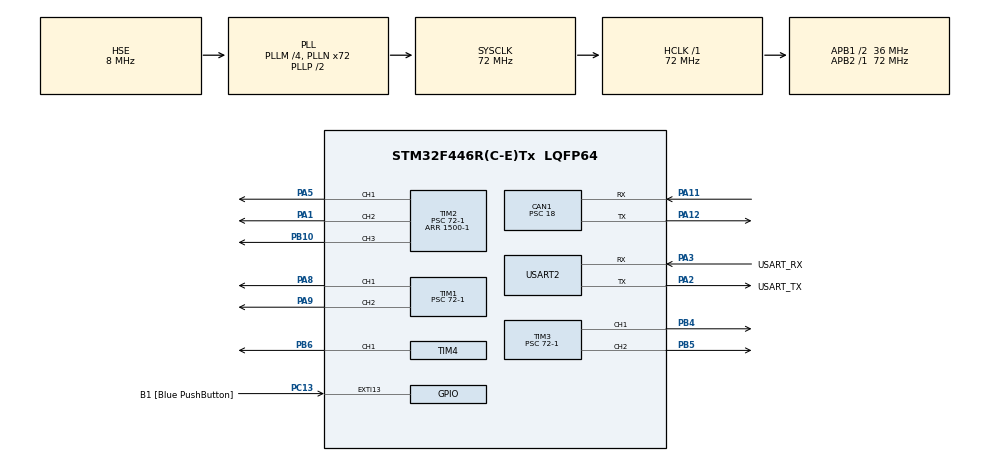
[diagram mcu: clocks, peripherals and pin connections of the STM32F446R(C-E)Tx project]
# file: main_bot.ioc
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CAN1.BS1=CAN_BS1_2TQ
CAN1.CalculateBaudRate=500000
CAN1.CalculateTimeBit=2000
CAN1.CalculateTimeQuantum=500.0
CAN1.Prescaler=18
Mcu.Family=STM32F4
Mcu.Name=STM32F446R(C-E)Tx
Mcu.Package=LQFP64
NVIC.CAN1_RX0_IRQn=true\:0\:0\:false\:false\:true\:true\:true\:true
NVIC.PriorityGroup=NVIC_PRIORITYGROUP_0
PA1.Signal=S_TIM2_CH2
PA11.Mode=CAN_Activate
PA11.Signal=CAN1_RX
PA12.Mode=CAN_Activate
PA12.Signal=CAN1_TX
PA13.GPIO_Label=TMS
PA13.Mode=Serial_Wire
PA13.Signal=SYS_JTMS-SWDIO
PA14.GPIO_Label=TCK
PA14.Mode=Serial_Wire
PA14.Signal=SYS_JTCK-SWCLK
PA2.GPIO_Label=USART_TX
PA2.Mode=Asynchronous
PA2.Signal=USART2_TX
PA3.GPIO_Label=USART_RX
PA3.Mode=Asynchronous
PA3.Signal=USART2_RX
PA5.Signal=S_TIM2_CH1_ETR
PA8.Signal=S_TIM1_CH1
PA9.Signal=S_TIM1_CH2
PB10.Signal=S_TIM2_CH3
PB3.GPIO_Label=SWO
PB3.Signal=SYS_JTDO-SWO
PB4.Signal=S_TIM3_CH1
PB5.Signal=S_TIM3_CH2
PB6.Signal=S_TIM4_CH1
PC13.GPIO_Label=B1 [Blue PushButton]
PC13.GPIO_ModeDefaultEXTI=GPIO_MODE_IT_FALLING
PC13.Signal=GPXTI13
PC14-OSC32_IN.Mode=LSE-External-Oscillator
PC14-OSC32_IN.Signal=RCC_OSC32_IN
PC15-OSC32_OUT.Mode=LSE-External-Oscillator
PC15-OSC32_OUT.Signal=RCC_OSC32_OUT
PH0-OSC_IN.Mode=HSE-External-Oscillator
PH0-OSC_IN.Signal=RCC_OSC_IN
PH1-OSC_OUT.Mode=HSE-External-Oscillator
PH1-OSC_OUT.Signal=RCC_OSC_OUT
ProjectManager.HeapSize=0x200
ProjectManager.StackSize=0x400
ProjectManager.TargetToolchain=STM32CubeIDE
RCC.48MHZClocksFreq_Value=84000000
RCC.AHBFreq_Value=72000000
RCC.APB1CLKDivider=RCC_HCLK_DIV2
RCC.APB1Freq_Value=36000000
RCC.APB1TimFreq_Value=72000000
RCC.APB2Freq_Value=72000000
RCC.APB2TimFreq_Value=72000000
RCC.CortexFreq_Value=72000000
RCC.FLatency-AdvancedSettings=FLASH_LATENCY_2
RCC.HCLKFreq_Value=72000000
RCC.HSE_VALUE=8000000
RCC.HSI_VALUE=16000000
RCC.PLLM=4
RCC.PLLN=72
RCC.PLLSourceVirtual=RCC_PLLSOURCE_HSE
RCC.SYSCLKFreq_VALUE=72000000
RCC.SYSCLKSource=RCC_SYSCLKSOURCE_PLLCLK
RCC.USBFreq_Value=72000000
RCC.VCOOutputFreq_Value=144000000
SH.S_TIM1_CH1.0=TIM1_CH1,PWM Generation1 CH1
SH.S_TIM1_CH2.0=TIM1_CH2,PWM Generation2 CH2
SH.S_TIM2_CH1_ETR.0=TIM2_CH1,PWM Generation1 CH1
SH.S_TIM2_CH2.0=TIM2_CH2,PWM Generation2 CH2
SH.S_TIM2_CH3.0=TIM2_CH3,PWM Generation3 CH3
SH.S_TIM3_CH1.0=TIM3_CH1,PWM Generation1 CH1
SH.S_TIM3_CH2.0=TIM3_CH2,PWM Generation2 CH2
SH.S_TIM4_CH1.0=TIM4_CH1,PWM Generation1 CH1
TIM1.Channel-PWM\ Generation1\ CH1=TIM_CHANNEL_1
TIM1.Channel-PWM\ Generation2\ CH2=TIM_CHANNEL_2
TIM1.Period=1500-1
TIM1.Prescaler=72-1
TIM2.Channel-PWM\ Generation1\ CH1=TIM_CHANNEL_1
TIM2.Channel-PWM\ Generation2\ CH2=TIM_CHANNEL_2
TIM2.Channel-PWM\ Generation3\ CH3=TIM_CHANNEL_3
TIM2.Period=1500-1
TIM2.Prescaler=72-1
TIM3.Channel-PWM\ Generation1\ CH1=TIM_CHANNEL_1
TIM3.Channel-PWM\ Generation2\ CH2=TIM_CHANNEL_2
TIM3.Period=1500-1
TIM3.Prescaler=72-1
TIM4.Channel-PWM\ Generation1\ CH1=TIM_CHANNEL_1
TIM4.Period=1000
TIM4.Prescaler=72-1
USART2.VirtualMode=VM_ASYNC
VP_TIM1_VS_ClockSourceINT.Mode=Internal
VP_TIM2_VS_ClockSourceINT.Mode=Internal
VP_TIM3_VS_ClockSourceINT.Mode=Internal
VP_TIM4_VS_ClockSourceINT.Mode=Internal
board=NUCLEO-F446RE

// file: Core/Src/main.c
/* USER CODE BEGIN Header */
/**
  ******************************************************************************
  * @file           : main.c
  * @brief          : Main program body
  ******************************************************************************
  * @attention
  *
  * Copyright (c) 2024 STMicroelectronics.
  * All rights reserved.
  *
  * This software is licensed under terms that can be found in the LICENSE file
  * in the root directory of this software component.
  * If no LICENSE file comes with this software, it is provided AS-IS.
  *
  ******************************************************************************
  */
/* USER CODE END Header */
#include "main.h"

/* USER CODE BEGIN PD */
int exponent(int i){
	int d = 1;
	for(int j = 3; j >= (i-5) * 2; j--){
		d *= 16;
	}
	return d;
}
int CAN_MESSAGE_CONVERSION(uint8_t RxData[8]){
	 int d;
	 int x = 0;
	 for(int i = 7; i >= 5; i--){
		 d = exponent(i);
		 x += RxData[i] * d;
	  }
	 return x;
}
/* USER CODE END PD */

CAN_HandleTypeDef hcan1;

TIM_HandleTypeDef htim1;
TIM_HandleTypeDef htim2;
TIM_HandleTypeDef htim3;
TIM_HandleTypeDef htim4;

UART_HandleTypeDef huart2;

void SystemClock_Config(void);
static void MX_GPIO_Init(void);
static void MX_USART2_UART_Init(void);
static void MX_CAN1_Init(void);
static void MX_TIM1_Init(void);
static void MX_TIM2_Init(void);
static void MX_TIM3_Init(void);
static void MX_TIM4_Init(void);

/* USER CODE BEGIN 0 */
CAN_TxHeaderTypeDef TxHeader;
CAN_RxHeaderTypeDef RxHeader;
uint8_t TxData[8];
uint8_t RxData[8];
uint32_t TxMailbox;

int datacheck = 0;

void HAL_GPIO_EXTI_Callback(uint16_t GPIO_Pin)
{
	if (GPIO_Pin == GPIO_PIN_13){
		TxData[0] = 100;
		TxData[1] = 10;

		HAL_CAN_AddTxMessage(&hcan1, &TxHeader, TxData, &TxMailbox);
	}
}

void HAL_CAN_RxFifo0MsgPendingCallback(CAN_HandleTypeDef *hcan)
{
	HAL_CAN_GetRxMessage(hcan, CAN_RX_FIFO0, &RxHeader, RxData);
//	if(RxHeader.ExtId == 23){
//		datacheck = 1;
//	}
	datacheck = 1;
}
/* USER CODE END 0 */

int main(void)
{

  /* MCU Configuration--------------------------------------------------------*/

  /* Reset of all peripherals, Initializes the Flash interface and the Systick. */
  HAL_Init();

  /* Configure the system clock */
  SystemClock_Config();

  /* Initialize all configured peripherals */
  MX_GPIO_Init();
  MX_USART2_UART_Init();
  MX_CAN1_Init();
  MX_TIM1_Init();
  MX_TIM2_Init();
  MX_TIM3_Init();
  MX_TIM4_Init();
  /* USER CODE BEGIN 2 */
  //  uint32_t pwmData[9];
  //  pwmData[0] = 10;
  //  pwmData[1] = 20;
  //  pwmData[2] = 30;
  //  pwmData[3] = 40;
  //  pwmData[4] = 50;
  //  pwmData[5] = 60;
  //  pwmData[6] = 70;
  //  pwmData[7] = 80;
  //  pwmData[8] = 90;
  //  pwmData[9] = 100;
  //
  //  HAL_TIM_PWM_Start_DMA(&htim1, TIM_CHANNEL_1, pwmData, 10);

    // can messages
    HAL_CAN_Start(&hcan1);

    HAL_CAN_ActivateNotification(&hcan1, CAN_IT_RX_FIFO0_MSG_PENDING);

    TxHeader.DLC = 8;
    TxHeader.IDE = CAN_ID_EXT;
    TxHeader.RTR = CAN_RTR_DATA;
    TxHeader.ExtId = 400;

    TIM1->CCR1 = 0;
    TIM1->CCR2 = 0;
    TIM2->CCR1 = 1000;
    TIM2->CCR2 = 1000;//TODOS
    TIM2->CCR3 = 0;
    TIM3->CCR1 = 1000;
    TIM3->CCR2 = 0;
    TIM4->CCR1 = 0;
    HAL_TIM_PWM_Start(&htim1, TIM_CHANNEL_1);
    HAL_TIM_PWM_Start(&htim1, TIM_CHANNEL_2);
    HAL_TIM_PWM_Start(&htim2, TIM_CHANNEL_1);
    HAL_TIM_PWM_Start(&htim2, TIM_CHANNEL_2); //TODOS
    HAL_TIM_PWM_Start(&htim2, TIM_CHANNEL_3);
    HAL_TIM_PWM_Start(&htim3, TIM_CHANNEL_1);
    HAL_TIM_PWM_Start(&htim3, TIM_CHANNEL_2);
    HAL_TIM_PWM_Start(&htim4, TIM_CHANNEL_1);
  /* USER CODE END 2 */

  /* Infinite loop */
  while (1)
  {

    /* USER CODE BEGIN 3 */
	  int x = 0;
	  if (datacheck){
		  if(RxHeader.ExtId == 15 || RxHeader.ExtId == 16 || RxHeader.ExtId == 17 || RxHeader.ExtId == 18)
		  {
			  TxHeader.ExtId = RxHeader.ExtId;
			  for(int i = 0; i < 4; i++){
				  TxData[i] = RxData[i];
			  }
			  // HAL_CAN_AddTxMessage(&hcan1, &TxHeader, TxData, &TxMailbox);
			  datacheck = 0;
		  }
		  // conveyer
		  else if(RxHeader.ExtId == 19)
		  {
			  TxHeader.ExtId = 400;
			  for(int i = 0; i < 8; i++){
				  TxData[i] = RxData[i];
			  }
			  HAL_CAN_AddTxMessage(&hcan1, &TxHeader, TxData, &TxMailbox);

			  x = CAN_MESSAGE_CONVERSION(RxData);

			  TIM1->ARR = 1000;
			  __HAL_TIM_SET_COMPARE(&htim1, TIM_CHANNEL_1, x);
			  datacheck = 0;
		  }
		  // Arm
		  else if(RxHeader.ExtId == 21)
		  {
			  TxHeader.ExtId = 400;
			  for(int i = 0; i < 8; i++){
				  TxData[i] = RxData[i];
			  }
			  HAL_CAN_AddTxMessage(&hcan1, &TxHeader, TxData, &TxMailbox);

			  x = CAN_MESSAGE_CONVERSION(RxData);

			  TIM2->ARR = 1000;
			  // retract
			  if(x == 50){
				  __HAL_TIM_SET_COMPARE(&htim2, TIM_CHANNEL_1, 1000);
				  __HAL_TIM_SET_COMPARE(&htim2, TIM_CHANNEL_3, 0);
			  }
			  // extend
			  else if(x == 150){
				  __HAL_TIM_SET_COMPARE(&htim2, TIM_CHANNEL_1, 0);
				  __HAL_TIM_SET_COMPARE(&htim2, TIM_CHANNEL_3, 1000);
			  }
			  else{
				  __HAL_TIM_SET_COMPARE(&htim2, TIM_CHANNEL_1, 0);
				  __HAL_TIM_SET_COMPARE(&htim2, TIM_CHANNEL_3, 0);
			  }

			  datacheck = 0;
		  }
		  // digger
		  else if(RxHeader.ExtId == 23)
		  {
			  TxHeader.ExtId = 400;
			  for(int i = 0; i < 8; i++){
				  TxData[i] = RxData[i];
			  }
			  HAL_CAN_AddTxMessage(&hcan1, &TxHeader, TxData, &TxMailbox);

			  x = CAN_MESSAGE_CONVERSION(RxData);

			  TIM3->ARR = 1000;
			  TIM1->ARR = 1000;
			  TIM2->ARR = 1000;//TODOS

			  if(x == 500){
				  __HAL_TIM_SET_COMPARE(&htim3, TIM_CHANNEL_1, 1000);
				  __HAL_TIM_SET_COMPARE(&htim2, TIM_CHANNEL_2, 1000);//TODOS
			  }else if(x == 600){
				  __HAL_TIM_SET_COMPARE(&htim3, TIM_CHANNEL_1, 0);
				  __HAL_TIM_SET_COMPARE(&htim2, TIM_CHANNEL_2, 0);//TODOS
			  }
			  __HAL_TIM_SET_COMPARE(&htim1, TIM_CHANNEL_2, x);
			  datacheck = 0;
		  }
		  // servo
		  else if(RxHeader.ExtId == 25)
		  {
			  TxHeader.ExtId = 400;
			  for(int i = 0; i < 8; i++){
				  TxData[i] = RxData[i];
			  }
			  HAL_CAN_AddTxMessage(&hcan1, &TxHeader, TxData, &TxMailbox);

			  x = CAN_MESSAGE_CONVERSION(RxData);

			  TIM3->ARR = 1000;
			  TIM4->ARR = 1000;
			  __HAL_TIM_SET_COMPARE(&htim3, TIM_CHANNEL_2, x);
			  __HAL_TIM_SET_COMPARE(&htim4, TIM_CHANNEL_1, x);
			  datacheck = 0;
		  }

		  else
		  {
			  datacheck = 0;
		  }
	  }

	   }
  /* USER CODE END 3 */
}

void SystemClock_Config(void)
{
  RCC_OscInitTypeDef RCC_OscInitStruct = {0};
  RCC_ClkInitTypeDef RCC_ClkInitStruct = {0};

  /** Configure the main internal regulator output voltage
  */
  __HAL_RCC_PWR_CLK_ENABLE();
  __HAL_PWR_VOLTAGESCALING_CONFIG(PWR_REGULATOR_VOLTAGE_SCALE3);

  /** Initializes the RCC Oscillators according to the specified parameters
  * in the RCC_OscInitTypeDef structure.
  */
  RCC_OscInitStruct.OscillatorType = RCC_OSCILLATORTYPE_HSE;
  RCC_OscInitStruct.HSEState = RCC_HSE_ON;
  RCC_OscInitStruct.PLL.PLLState = RCC_PLL_ON;
  RCC_OscInitStruct.PLL.PLLSource = RCC_PLLSOURCE_HSE;
  RCC_OscInitStruct.PLL.PLLM = 4;
  RCC_OscInitStruct.PLL.PLLN = 72;
  RCC_OscInitStruct.PLL.PLLP = RCC_PLLP_DIV2;
  RCC_OscInitStruct.PLL.PLLQ = 2;
  RCC_OscInitStruct.PLL.PLLR = 2;
  if (HAL_RCC_OscConfig(&RCC_OscInitStruct) != HAL_OK)
  {
    Error_Handler();
  }

  /** Initializes the CPU, AHB and APB buses clocks
  */
  RCC_ClkInitStruct.ClockType = RCC_CLOCKTYPE_HCLK|RCC_CLOCKTYPE_SYSCLK
                              |RCC_CLOCKTYPE_PCLK1|RCC_CLOCKTYPE_PCLK2;
  RCC_ClkInitStruct.SYSCLKSource = RCC_SYSCLKSOURCE_PLLCLK;
  RCC_ClkInitStruct.AHBCLKDivider = RCC_SYSCLK_DIV1;
  RCC_ClkInitStruct.APB1CLKDivider = RCC_HCLK_DIV2;
  RCC_ClkInitStruct.APB2CLKDivider = RCC_HCLK_DIV1;

  if (HAL_RCC_ClockConfig(&RCC_ClkInitStruct, FLASH_LATENCY_2) != HAL_OK)
  {
    Error_Handler();
  }
}

static void MX_CAN1_Init(void)
{

  hcan1.Instance = CAN1;
  hcan1.Init.Prescaler = 18;
  hcan1.Init.Mode = CAN_MODE_NORMAL;
  hcan1.Init.SyncJumpWidth = CAN_SJW_1TQ;
  hcan1.Init.TimeSeg1 = CAN_BS1_2TQ;
  hcan1.Init.TimeSeg2 = CAN_BS2_1TQ;
  hcan1.Init.TimeTriggeredMode = DISABLE;
  hcan1.Init.AutoBusOff = DISABLE;
  hcan1.Init.AutoWakeUp = DISABLE;
  hcan1.Init.AutoRetransmission = DISABLE;
  hcan1.Init.ReceiveFifoLocked = DISABLE;
  hcan1.Init.TransmitFifoPriority = DISABLE;
  if (HAL_CAN_Init(&hcan1) != HAL_OK)
  {
    Error_Handler();
  }
  /* USER CODE BEGIN CAN1_Init 2 */
  CAN_FilterTypeDef canfilterconfig;

  canfilterconfig.FilterActivation = CAN_FILTER_ENABLE;
  canfilterconfig.FilterBank = 0;
  canfilterconfig.FilterFIFOAssignment = CAN_FILTER_FIFO0;
  canfilterconfig.FilterIdHigh = 0;
  canfilterconfig.FilterIdLow = 0;
  canfilterconfig.FilterMaskIdHigh = 0;
  canfilterconfig.FilterMaskIdLow = 0;
  canfilterconfig.FilterMode = CAN_FILTERMODE_IDMASK;
  canfilterconfig.FilterScale = CAN_FILTERSCALE_32BIT;
  canfilterconfig.SlaveStartFilterBank = 40;

  HAL_CAN_ConfigFilter(&hcan1, &canfilterconfig);
  /* USER CODE END CAN1_Init 2 */

}

static void MX_TIM1_Init(void)
{

  TIM_ClockConfigTypeDef sClockSourceConfig = {0};
  TIM_MasterConfigTypeDef sMasterConfig = {0};
  TIM_OC_InitTypeDef sConfigOC = {0};
  TIM_BreakDeadTimeConfigTypeDef sBreakDeadTimeConfig = {0};

  htim1.Instance = TIM1;
  htim1.Init.Prescaler = 72-1;
  htim1.Init.CounterMode = TIM_COUNTERMODE_UP;
  htim1.Init.Period = 1500-1;
  htim1.Init.ClockDivision = TIM_CLOCKDIVISION_DIV1;
  htim1.Init.RepetitionCounter = 0;
  htim1.Init.AutoReloadPreload = TIM_AUTORELOAD_PRELOAD_DISABLE;
  if (HAL_TIM_Base_Init(&htim1) != HAL_OK)
  {
    Error_Handler();
  }
  sClockSourceConfig.ClockSource = TIM_CLOCKSOURCE_INTERNAL;
  if (HAL_TIM_ConfigClockSource(&htim1, &sClockSourceConfig) != HAL_OK)
  {
    Error_Handler();
  }
  if (HAL_TIM_PWM_Init(&htim1) != HAL_OK)
  {
    Error_Handler();
  }
  sMasterConfig.MasterOutputTrigger = TIM_TRGO_RESET;
  sMasterConfig.MasterSlaveMode = TIM_MASTERSLAVEMODE_DISABLE;
  if (HAL_TIMEx_MasterConfigSynchronization(&htim1, &sMasterConfig) != HAL_OK)
  {
    Error_Handler();
  }
  sConfigOC.OCMode = TIM_OCMODE_PWM1;
  sConfigOC.Pulse = 0;
  sConfigOC.OCPolarity = TIM_OCPOLARITY_HIGH;
  sConfigOC.OCNPolarity = TIM_OCNPOLARITY_HIGH;
  sConfigOC.OCFastMode = TIM_OCFAST_DISABLE;
  sConfigOC.OCIdleState = TIM_OCIDLESTATE_RESET;
  sConfigOC.OCNIdleState = TIM_OCNIDLESTATE_RESET;
  if (HAL_TIM_PWM_ConfigChannel(&htim1, &sConfigOC, TIM_CHANNEL_1) != HAL_OK)
  {
    Error_Handler();
  }
  if (HAL_TIM_PWM_ConfigChannel(&htim1, &sConfigOC, TIM_CHANNEL_2) != HAL_OK)
  {
    Error_Handler();
  }
  sBreakDeadTimeConfig.OffStateRunMode = TIM_OSSR_DISABLE;
  sBreakDeadTimeConfig.OffStateIDLEMode = TIM_OSSI_DISABLE;
  sBreakDeadTimeConfig.LockLevel = TIM_LOCKLEVEL_OFF;
  sBreakDeadTimeConfig.DeadTime = 0;
  sBreakDeadTimeConfig.BreakState = TIM_BREAK_DISABLE;
  sBreakDeadTimeConfig.BreakPolarity = TIM_BREAKPOLARITY_HIGH;
  sBreakDeadTimeConfig.AutomaticOutput = TIM_AUTOMATICOUTPUT_DISABLE;
  if (HAL_TIMEx_ConfigBreakDeadTime(&htim1, &sBreakDeadTimeConfig) != HAL_OK)
  {
    Error_Handler();
  }
  HAL_TIM_MspPostInit(&htim1);

}

static void MX_TIM2_Init(void)
{

  TIM_ClockConfigTypeDef sClockSourceConfig = {0};
  TIM_MasterConfigTypeDef sMasterConfig = {0};
  TIM_OC_InitTypeDef sConfigOC = {0};

  htim2.Instance = TIM2;
  htim2.Init.Prescaler = 72-1;
  htim2.Init.CounterMode = TIM_COUNTERMODE_UP;
  htim2.Init.Period = 1500-1;
  htim2.Init.ClockDivision = TIM_CLOCKDIVISION_DIV1;
  htim2.Init.AutoReloadPreload = TIM_AUTORELOAD_PRELOAD_DISABLE;
  if (HAL_TIM_Base_Init(&htim2) != HAL_OK)
  {
    Error_Handler();
  }
  sClockSourceConfig.ClockSource = TIM_CLOCKSOURCE_INTERNAL;
  if (HAL_TIM_ConfigClockSource(&htim2, &sClockSourceConfig) != HAL_OK)
  {
    Error_Handler();
  }
  if (HAL_TIM_PWM_Init(&htim2) != HAL_OK)
  {
    Error_Handler();
  }
  sMasterConfig.MasterOutputTrigger = TIM_TRGO_RESET;
  sMasterConfig.MasterSlaveMode = TIM_MASTERSLAVEMODE_DISABLE;
  if (HAL_TIMEx_MasterConfigSynchronization(&htim2, &sMasterConfig) != HAL_OK)
  {
    Error_Handler();
  }
  sConfigOC.OCMode = TIM_OCMODE_PWM1;
  sConfigOC.Pulse = 0;
  sConfigOC.OCPolarity = TIM_OCPOLARITY_HIGH;
  sConfigOC.OCFastMode = TIM_OCFAST_DISABLE;
  if (HAL_TIM_PWM_ConfigChannel(&htim2, &sConfigOC, TIM_CHANNEL_1) != HAL_OK)
  {
    Error_Handler();
  }
  if (HAL_TIM_PWM_ConfigChannel(&htim2, &sConfigOC, TIM_CHANNEL_2) != HAL_OK)
	{
	  Error_Handler();
	}
  if (HAL_TIM_PWM_ConfigChannel(&htim2, &sConfigOC, TIM_CHANNEL_3) != HAL_OK)
  {
    Error_Handler();
  }
  HAL_TIM_MspPostInit(&htim2);

}

static void MX_TIM3_Init(void)
{

  TIM_ClockConfigTypeDef sClockSourceConfig = {0};
  TIM_MasterConfigTypeDef sMasterConfig = {0};
  TIM_OC_InitTypeDef sConfigOC = {0};

  htim3.Instance = TIM3;
  htim3.Init.Prescaler = 72-1;
  htim3.Init.CounterMode = TIM_COUNTERMODE_UP;
  htim3.Init.Period = 1500-1;
  htim3.Init.ClockDivision = TIM_CLOCKDIVISION_DIV1;
  htim3.Init.AutoReloadPreload = TIM_AUTORELOAD_PRELOAD_DISABLE;
  if (HAL_TIM_Base_Init(&htim3) != HAL_OK)
  {
    Error_Handler();
  }
  sClockSourceConfig.ClockSource = TIM_CLOCKSOURCE_INTERNAL;
  if (HAL_TIM_ConfigClockSource(&htim3, &sClockSourceConfig) != HAL_OK)
  {
    Error_Handler();
  }
  if (HAL_TIM_PWM_Init(&htim3) != HAL_OK)
  {
    Error_Handler();
  }
  sMasterConfig.MasterOutputTrigger = TIM_TRGO_RESET;
  sMasterConfig.MasterSlaveMode = TIM_MASTERSLAVEMODE_DISABLE;
  if (HAL_TIMEx_MasterConfigSynchronization(&htim3, &sMasterConfig) != HAL_OK)
  {
    Error_Handler();
  }
  sConfigOC.OCMode = TIM_OCMODE_PWM1;
  sConfigOC.Pulse = 0;
  sConfigOC.OCPolarity = TIM_OCPOLARITY_HIGH;
  sConfigOC.OCFastMode = TIM_OCFAST_DISABLE;
  if (HAL_TIM_PWM_ConfigChannel(&htim3, &sConfigOC, TIM_CHANNEL_1) != HAL_OK)
  {
    Error_Handler();
  }
  if (HAL_TIM_PWM_ConfigChannel(&htim3, &sConfigOC, TIM_CHANNEL_2) != HAL_OK)
  {
    Error_Handler();
  }
  HAL_TIM_MspPostInit(&htim3);

}

static void MX_TIM4_Init(void)
{

  TIM_ClockConfigTypeDef sClockSourceConfig = {0};
  TIM_MasterConfigTypeDef sMasterConfig = {0};
  TIM_OC_InitTypeDef sConfigOC = {0};

  htim4.Instance = TIM4;
  htim4.Init.Prescaler = 72-1;
  htim4.Init.CounterMode = TIM_COUNTERMODE_UP;
  htim4.Init.Period = 1000;
  htim4.Init.ClockDivision = TIM_CLOCKDIVISION_DIV1;
  htim4.Init.AutoReloadPreload = TIM_AUTORELOAD_PRELOAD_DISABLE;
  if (HAL_TIM_Base_Init(&htim4) != HAL_OK)
  {
    Error_Handler();
  }
  sClockSourceConfig.ClockSource = TIM_CLOCKSOURCE_INTERNAL;
  if (HAL_TIM_ConfigClockSource(&htim4, &sClockSourceConfig) != HAL_OK)
  {
    Error_Handler();
  }
  if (HAL_TIM_PWM_Init(&htim4) != HAL_OK)
  {
    Error_Handler();
  }
  sMasterConfig.MasterOutputTrigger = TIM_TRGO_RESET;
  sMasterConfig.MasterSlaveMode = TIM_MASTERSLAVEMODE_DISABLE;
  if (HAL_TIMEx_MasterConfigSynchronization(&htim4, &sMasterConfig) != HAL_OK)
  {
    Error_Handler();
  }
  sConfigOC.OCMode = TIM_OCMODE_PWM1;
  sConfigOC.Pulse = 0;
  sConfigOC.OCPolarity = TIM_OCPOLARITY_HIGH;
  sConfigOC.OCFastMode = TIM_OCFAST_DISABLE;
  if (HAL_TIM_PWM_ConfigChannel(&htim4, &sConfigOC, TIM_CHANNEL_1) != HAL_OK)
  {
    Error_Handler();
  }
  HAL_TIM_MspPostInit(&htim4);

}

static void MX_USART2_UART_Init(void)
{

  huart2.Instance = USART2;
  huart2.Init.BaudRate = 115200;
  huart2.Init.WordLength = UART_WORDLENGTH_8B;
  huart2.Init.StopBits = UART_STOPBITS_1;
  huart2.Init.Parity = UART_PARITY_NONE;
  huart2.Init.Mode = UART_MODE_TX_RX;
  huart2.Init.HwFlowCtl = UART_HWCONTROL_NONE;
  huart2.Init.OverSampling = UART_OVERSAMPLING_16;
  if (HAL_UART_Init(&huart2) != HAL_OK)
  {
    Error_Handler();
  }

}

static void MX_GPIO_Init(void)
{
  GPIO_InitTypeDef GPIO_InitStruct = {0};

  /* GPIO Ports Clock Enable */
  __HAL_RCC_GPIOC_CLK_ENABLE();
  __HAL_RCC_GPIOH_CLK_ENABLE();
  __HAL_RCC_GPIOA_CLK_ENABLE();
  __HAL_RCC_GPIOB_CLK_ENABLE();

  /*Configure GPIO pin : B1_Pin */
  GPIO_InitStruct.Pin = B1_Pin;
  GPIO_InitStruct.Mode = GPIO_MODE_IT_FALLING;
  GPIO_InitStruct.Pull = GPIO_NOPULL;
  HAL_GPIO_Init(B1_GPIO_Port, &GPIO_InitStruct);

}

void Error_Handler(void)
{
  __disable_irq();
  while (1)
  {
  }
}
